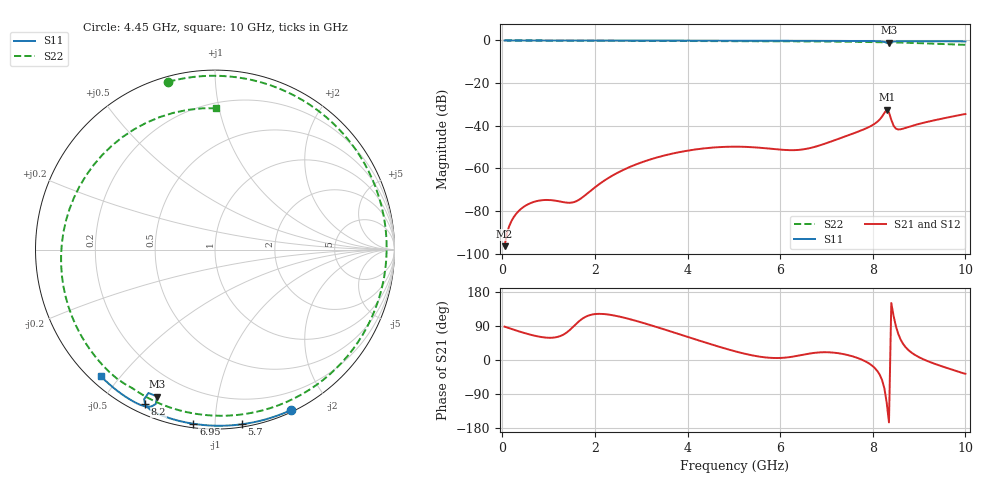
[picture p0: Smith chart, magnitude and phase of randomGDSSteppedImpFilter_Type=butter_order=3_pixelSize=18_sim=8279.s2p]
! freq	dB(S11)	phase(S11)	dB(S12)	phase(S12)
!  dB(S21)	phase(S21)	dB(S22)	phase(S22)
!S-par simulation data
#  GHz  S  DB  R 50
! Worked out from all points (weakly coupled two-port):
!   200 points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, 50 MHz to 10 GHz, reference 50 ohm
!   highest |S21| = -32.56 dB at 8.3 GHz (marker M1); lowest = -96.6 dB at 50 MHz (marker M2)
!   lowest |S11| = -1.1 dB at 8.35 GHz (marker M3), VSWR 15.64, Z = 4.67 - j33.8 ohm
!   |S11| at or under -10 dB: nowhere
!   |S22| runs from -2.1 to 0.0 dB; largest |S21 - S12| = 0
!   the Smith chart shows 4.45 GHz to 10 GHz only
!   S11 on the Smith chart (normalised r, x): 4.45 GHz: 0.02, -1.58; 5.7 GHz: 0.02, -1.16; 6.95 GHz: 0.02, -0.88; 8.2 GHz: 0.04, -0.65; 10 GHz: 0.03, -0.44
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0.05  -0.00 -0.8  -96.55 88.0  -96.55 88.0  -0.00 -3.4
0.45  -0.01 -6.9  -78.28 72.2  -78.28 72.2  -0.04 -30.4
0.95  -0.02 -14.4  -74.86 59.0  -74.86 59.0  -0.08 -62.9
1.5  -0.03 -22.7  -76.10 84.0  -76.10 84.0  -0.11 -96.4
1.75  -0.03 -26.4  -73.34 110.7  -73.34 110.7  -0.13 -110.8
2.6  -0.05 -38.9  -60.89 112.5  -60.89 112.5  -0.17 -156.8
3.4  -0.07 -50.3  -54.56 84.5  -54.56 84.5  -0.20 161.8
4.45  -0.09 -64.8  -50.45 43.6  -50.45 43.6  -0.26 105.5
5.05  -0.11 -72.8  -49.86 22.2  -49.86 22.2  -0.30 71.3
5.7  -0.14 -81.3  -50.62 6.6  -50.62 6.6  -0.34 32.7
6.2  -0.16 -87.7  -51.49 7.5  -51.49 7.5  -0.38 2.7
6.7  -0.18 -93.9  -50.22 18.2  -50.22 18.2  -0.44 -27.0
6.95  -0.20 -97.0  -48.57 20.6  -48.57 20.6  -0.48 -41.6
7.6  -0.24 -105.1  -43.49 8.3  -43.49 8.3  -0.62 -79.3
8.2  -0.48 -114.3  -35.75 -52.6  -35.75 -52.6  -0.86 -115.1
8.3  -1.10 -114.9  -32.56 -112.1  -32.56 -112.1  -0.92 -120.9
8.35  -1.11 -111.5  -33.77 -164.6  -33.77 -164.6  -0.90 -123.9
8.45  -0.52 -112.0  -40.03 115.9  -40.03 115.9  -0.91 -130.7
8.55  -0.39 -114.0  -41.79 68.9  -41.79 68.9  -0.96 -137.4
9.25  -0.38 -123.3  -37.85 -6.1  -37.85 -6.1  -1.46 168.8
9.6  -0.41 -127.5  -36.22 -21.0  -36.22 -21.0  -1.77 134.8
10  -0.45 -132.1  -34.53 -36.3  -34.53 -36.3  -2.07 89.4
